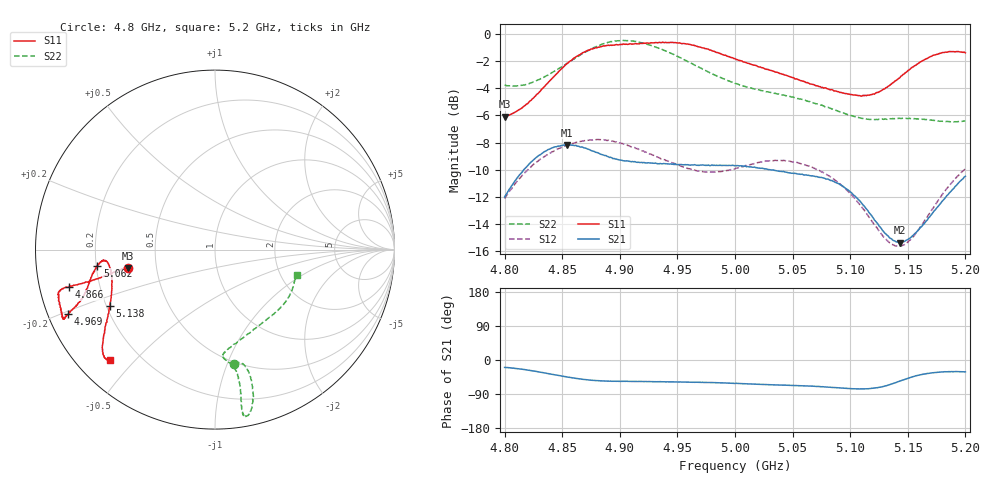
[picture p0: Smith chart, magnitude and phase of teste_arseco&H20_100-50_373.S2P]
! Network Analyzer HP8722D
! Hewlett-Packard
! Data name: Linha & Wilkinson
! Saver's name: Rodrigo Anjos
! Comments: Teste da utilização de aquisição
! continua pelo VNA HP8722D
! Time and date: 6/5/2025 15:40
!  Frequency  S11  S21  S12  S22
# HZ  S  MA R 50
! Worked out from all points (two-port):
!   401 points, 4.8 GHz to 5.2 GHz, reference 50 ohm
!   highest |S21| = -8.16 dB at 4.854 GHz (marker M1); lowest = -15.3 dB at 5.143 GHz (marker M2)
!   |S21| within 3 dB of the highest: 4.806 GHz to 5.093 GHz (286.6 MHz wide, 5.79 % of centre); 5.191905 GHz to end of sweep
!   lowest |S11| = -6.1 dB at 4.8 GHz (marker M3), VSWR 2.97, Z = 17 - j4.61 ohm
!   |S11| at or under -10 dB: nowhere
!   |S22| runs from -6.5 to -0.5 dB; largest |S21 - S12| = 0.62
!   S11 on the Smith chart (normalised r, x): 4.8 GHz: 0.34, -0.09; 4.866 GHz: 0.09, -0.13; 4.969 GHz: 0.06, -0.21; 5.062 GHz: 0.20, -0.07; 5.138 GHz: 0.21, -0.24; 5.2 GHz: 0.10, -0.43
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4.8e9  0.4964 -168.1  0.2514 -19.5  0.248 -140.7  0.6482 -80.4
4.828e9  0.5998 -167.0  0.3529 -30.4  0.3382 -144.7  0.6741 -75.4
4.854e9  0.7761 -165.7  0.3907 -44.7  0.3892 -149.6  0.7788 -74.6
4.866e9  0.8422 -165.6  0.3831 -50.1  0.4023 -151.7  0.8374 -75.2
4.867e9  0.847 -165.7  0.3841 -50.6  0.4031 -151.8  0.8439 -75.3
4.886e9  0.9034 -164.8  0.3583 -55.2  0.4082 -155.0  0.9202 -77.4
4.901e9  0.9142 -162.4  0.3437 -56.2  0.3959 -156.6  0.9441 -79.2
4.934e9  0.9295 -156.3  0.333 -57.4  0.3507 -155.5  0.8845 -80.4
4.969e9  0.8948 -156.2  0.3285 -58.9  0.3129 -147.2  0.7534 -79.6
5e9  0.8106 -158.9  0.3275 -61.8  0.3196 -137.1  0.6574 -81.2
5.038e9  0.7184 -165.9  0.3128 -66.0  0.3427 -134.4  0.6009 -85.7
5.062e9  0.6613 -172.1  0.3029 -68.4  0.3283 -136.1  0.5672 -83.9
5.067e9  0.6519 -172.9  0.3006 -69.0  0.323 -136.7  0.5595 -82.6
5.082e9  0.6237 -174.6  0.2904 -71.7  0.2998 -138.1  0.5341 -77.1
5.101e9  0.5986 -171.9  0.2608 -75.6  0.256 -138.7  0.5 -66.5
5.117e9  0.5952 -164.8  0.2186 -75.4  0.2102 -135.0  0.4845 -55.2
5.134e9  0.645 -154.1  0.1781 -65.4  0.1709 -120.9  0.487 -43.3
5.138e9  0.6644 -151.7  0.1737 -61.2  0.167 -115.7  0.4869 -40.8
5.143e9  0.6894 -149.2  0.1709 -56.0  0.1661 -109.0  0.4893 -38.0
5.154e9  0.7543 -144.4  0.1808 -44.4  0.1785 -95.1  0.4889 -32.3
5.173e9  0.8353 -138.7  0.2237 -33.2  0.2323 -80.7  0.4808 -24.3
5.2e9  0.8511 -133.5  0.2995 -31.3  0.319 -76.7  0.4776 -17.5
